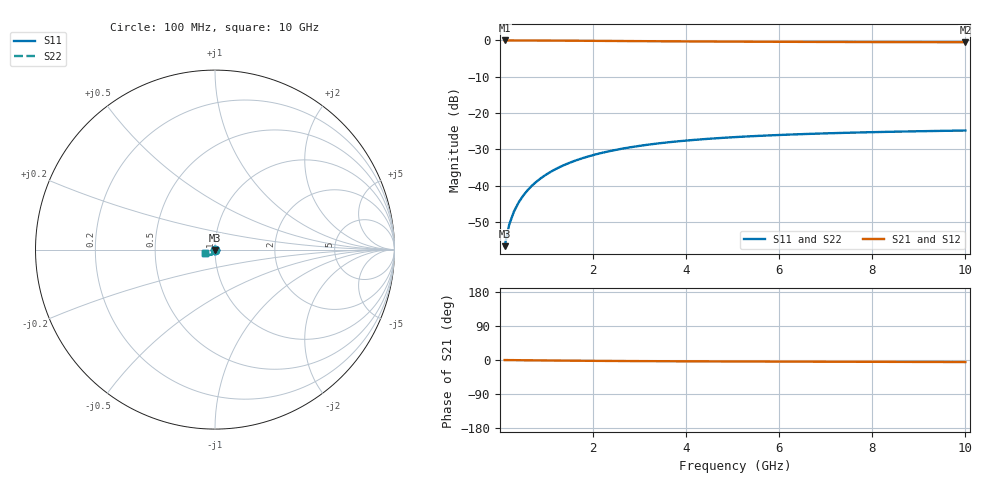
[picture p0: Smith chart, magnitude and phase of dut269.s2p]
! Touchstone file exported from HFSS 2024.1.0
!  File:  C:/UserFiles/LocalFiles/RDL_TSV_Batchsim/temp_TSV1_269_1779392237.aedt
!  Generated:  03:42:24 AM May 22, 2026
!  Design:  TSV1
!  Project:  temp_TSV1_269_1779392237
!  Setup:  Setup1
!  Solution:  Sweep
! Variables:
!  dtsv = 10.79um
!  hbump = 3um
!  htsv = 85.03um
!  lrdl = 252.1521522um
!  p = 40
!  p1 = 40.79um
!  t = 500um
!  trdl = 3um
!  wrdl = 24.89489489um
# GHz S MA R 50.000000
! Terminal data exported
! Port[1] = TSV22_T1
! Port[2] = TSV22_T2
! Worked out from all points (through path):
!   100 points, 100 MHz to 10 GHz, reference 50 ohm
!   highest |S21| = 0.00 dB at 100 MHz (marker M1); lowest = -0.5 dB at 10 GHz (marker M2)
!   lowest |S11| = -56.7 dB at 100 MHz (marker M3), VSWR 1.00, Z = 50 - j0.147 ohm
!   |S11| at or under -10 dB: start of sweep to end of sweep
!   |S22| runs from -56.7 to -24.8 dB; largest |S21 - S12| = 5e-15
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0.1  0.00147 -86.2  0.9998 -0.1  0.9998 -0.1  0.00147 -86.2
! Gamma 0 0 0 0
! Port Impedance 50 0 50 0
0.2  0.002933 -90.1  0.9997 -0.3  0.9997 -0.3  0.002933 -90.1
0.3  0.004398 -92.4  0.9995 -0.4  0.9995 -0.4  0.004398 -92.4
0.4  0.00586 -94.2  0.9992 -0.5  0.9992 -0.5  0.00586 -94.2
0.5  0.007314 -96.0  0.9989 -0.6  0.9989 -0.6  0.007314 -96.0
0.6  0.008755 -97.6  0.9984 -0.8  0.9984 -0.8  0.008755 -97.6
0.7  0.01018 -99.2  0.998 -0.9  0.998 -0.9  0.01018 -99.2
0.8  0.01159 -100.7  0.9974 -1.0  0.9974 -1.0  0.01159 -100.7
0.9  0.01297 -102.2  0.9968 -1.1  0.9968 -1.1  0.01297 -102.2
1.1  0.01567 -105.1  0.9955 -1.3  0.9955 -1.3  0.01567 -105.1
1.4  0.01951 -109.3  0.9932 -1.7  0.9932 -1.7  0.01951 -109.3
1.6  0.02193 -111.9  0.9915 -1.9  0.9915 -1.9  0.02193 -111.9
1.8  0.02421 -114.4  0.9897 -2.0  0.9897 -2.0  0.02421 -114.4
2.1  0.02741 -118.0  0.9869 -2.3  0.9869 -2.3  0.02741 -118.0
2.5  0.03123 -122.3  0.9831 -2.6  0.9831 -2.6  0.03123 -122.3
2.9  0.03459 -126.3  0.9794 -2.9  0.9794 -2.9  0.03459 -126.3
3.4  0.0382 -130.8  0.9751 -3.1  0.9751 -3.1  0.0382 -130.8
4.2  0.04286 -136.8  0.9688 -3.5  0.9688 -3.5  0.04286 -136.8
5.1  0.04686 -142.4  0.9629 -3.9  0.9629 -3.9  0.04686 -142.4
6.7  0.05183 -150.2  0.9551 -4.4  0.9551 -4.4  0.05183 -150.2
8.4  0.05528 -156.4  0.9492 -4.9  0.9492 -4.9  0.05528 -156.4
10  0.05751 -161.0  0.9453 -5.4  0.9453 -5.4  0.05751 -161.0
